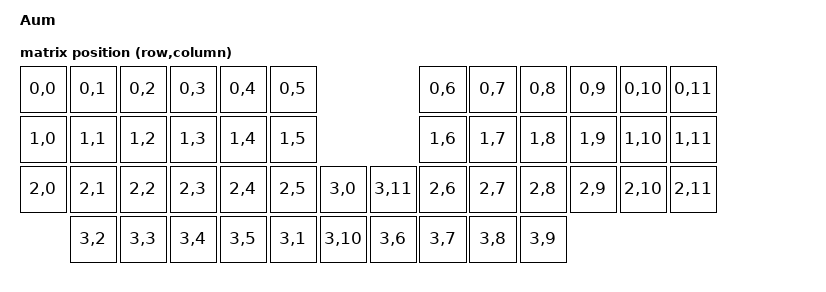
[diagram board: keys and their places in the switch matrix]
/*
* Copyright (c) 2020 The ZMK Contributors 
*
* SPDX-License-Identifier: MIT
*/

/dts-v1/;
#include <nordic/nrf52840_qiaa.dtsi>
#include <dt-bindings/zmk/matrix_transform.h>


/ {
	model = "Aum";
	compatible = "lnatkvat,aum";

	chosen {
		zephyr,code-partition = &code_partition;
		zephyr,sram = &sram0;
		zephyr,flash = &flash0;
    		zmk,matrix-transform = &default_transform;
		// zephyr,console = &cdc_acm_uart;
	};

    default_transform: keymap_transform_0 {
        compatible = "zmk,matrix-transform";
        columns = <16>;
        rows = <4>;
		// | SW_A0 | SW_B0 | SW_C0 | SW_D0 | SW_E0 | SW_F0 |                   | SW_F0 | SW_E0 | SW_D0 | SW_C0 | SW_B0 | SW_A0 |
		// | SW_A1 | SW_B1 | SW_C1 | SW_D1 | SW_E1 | SW_F1 |                   | SW_F1 | SW_E1 | SW_D1 | SW_C1 | SW_B1 | SW_A1 |
		// | SW_A2 | SW_B2 | SW_C2 | SW_D2 | SW_E2 | SW_F2 | RE_1  |   | RE_1  | SW_F2 | SW_E2 | SW_D2 | SW_C2 | SW_B2 | SW_A2 |
		//                 | SW_B4 | SW_B3 | SW_C3 | SW_D3 | SW_E3 |   | SW_E3 | SW_D3 | SW_C3 | SW_B3 | SW_B4 |
	map = <
		RC(0,0) RC(0,1) RC(0,2) RC(0,3) RC(0,4) RC(0,5)                    RC(0,6) RC(0,7) RC(0,8) RC(0,9) RC(0,10) RC(0,11)
		RC(1,0) RC(1,1) RC(1,2) RC(1,3) RC(1,4) RC(1,5)                    RC(1,6) RC(1,7) RC(1,8) RC(1,9) RC(1,10) RC(1,11)
		RC(2,0) RC(2,1) RC(2,2) RC(2,3) RC(2,4) RC(2,5) RC(3,0)   RC(3,11) RC(2,6) RC(2,7) RC(2,8) RC(2,9) RC(2,10) RC(2,11)
				RC(3,2) RC(3,3) RC(3,4) RC(3,5) RC(3,1)   RC(3,10) RC(3,6) RC(3,7) RC(3,8) RC(3,9)
	        >;
    };

};

&adc {
	status = "okay";
};

&gpiote {
	status = "okay";
};

&gpio0 {
	status = "okay";
};

&gpio1 {
	status = "okay";
};



zephyr_udc0: &usbd {
    status = "okay";
};

&flash0 {
	/*
* For more information, see:
* http://docs.zephyrproject.org/latest/devices/dts/flash_partitions.html
*/
	partitions {
		compatible = "fixed-partitions";
		#address-cells = <1>;
		#size-cells = <1>;

		sd_partition: partition@0 {
			reg = <0x00000000 0x00026000>;
		};
		code_partition: partition@26000 {
			reg = <0x00026000 0x000c6000>;
		};

		/*
* The flash starting at 0x000ec000 and ending at
* 0x000f3fff is reserved for use by the application.
*/

		/*
* Storage partition will be used by FCB/LittleFS/NVS
* if enabled.
*/
		storage_partition: partition@ec000 {
			reg = <0x000ec000 0x00008000>;
		};

		boot_partition: partition@f4000 {
			reg = <0x000f4000 0x0000c000>;
		};
	};
};
